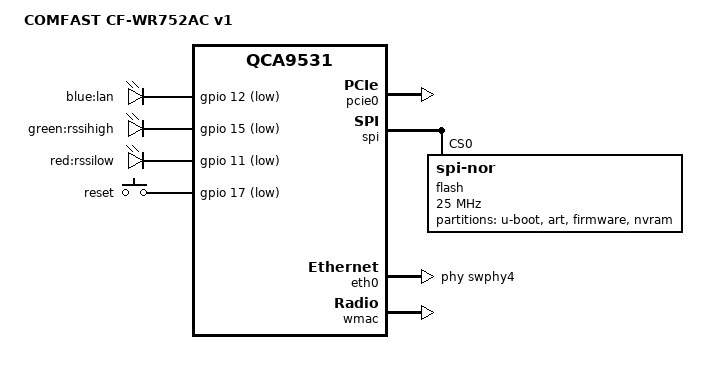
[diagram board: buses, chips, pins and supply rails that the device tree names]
// SPDX-License-Identifier: GPL-2.0-or-later OR MIT

#include "qca953x.dtsi"

#include <dt-bindings/gpio/gpio.h>
#include <dt-bindings/input/input.h>

/ {
	compatible = "comfast,cf-wr752ac-v1", "qca,qca9531";
	model = "COMFAST CF-WR752AC v1";

	aliases {
		serial0 = &uart;
		led-boot = &led_lan;
		led-failsafe = &led_lan;
		led-upgrade = &led_lan;
	};

	leds {
		compatible = "gpio-leds";

		pinctrl-names = "default";
		pinctrl-0 = <&jtag_disable_pins &pinmux_led_rssihigh &pinmux_led_rssilow>;

		led_lan: lan {
			label = "blue:lan";
			gpios = <&gpio 12 GPIO_ACTIVE_LOW>;
		};

		rssihigh {
			label = "green:rssihigh";
			gpios = <&gpio 15 GPIO_ACTIVE_LOW>;
		};

		rssilow {
			label = "red:rssilow";
			gpios = <&gpio 11 GPIO_ACTIVE_LOW>;
		};
	};

	keys {
		compatible = "gpio-keys";

		button {
			label = "reset";
			linux,code = <KEY_RESTART>;
			gpios = <&gpio 17 GPIO_ACTIVE_LOW>;
			debounce-interval = <60>;
		};
	};
};

&pinmux {
	pinmux_led_rssihigh: pinmux_led_rssihigh {
		pinctrl-single,bits = <0xc 0x0 0xff000000>;
	};

	pinmux_led_rssilow: pinmux_led_rssilow {
		pinctrl-single,bits = <0x8 0x0 0xff000000>;
	};
};

&pcie0 {
	status = "okay";
};

&spi {
	status = "okay";

	flash@0 {
		compatible = "jedec,spi-nor";
		reg = <0>;
		spi-max-frequency = <25000000>;

		partitions {
			compatible = "fixed-partitions";
			#address-cells = <1>;
			#size-cells = <1>;

			partition@0 {
				label = "u-boot";
				reg = <0x000000 0x010000>;
				read-only;
			};

			art: partition@10000 {
				label = "art";
				reg = <0x010000 0x010000>;
				read-only;
			};

			partition@20000 {
				compatible = "denx,uimage";
				label = "firmware";
				reg = <0x020000 0xfd0000>;
			};

			partition@ff0000 {
				label = "nvram";
				reg = <0xff0000 0x010000>;
				read-only;
			};
		};
	};
};

&eth0 {
	status = "okay";

	phy-handle = <&swphy4>;

	nvmem-cells = <&macaddr_art_0>;
	nvmem-cell-names = "mac-address";
};

&eth1 {
	compatible = "syscon", "simple-mfd";
};

&wmac {
	status = "okay";

	mtd-cal-data = <&art 0x1000>;

	nvmem-cells = <&macaddr_art_0>;
	nvmem-cell-names = "mac-address";
	mac-address-increment = <10>;
};

&art {
	compatible = "nvmem-cells";
	#address-cells = <1>;
	#size-cells = <1>;

	macaddr_art_0: macaddr@0 {
		reg = <0x0 0x6>;
	};
};
